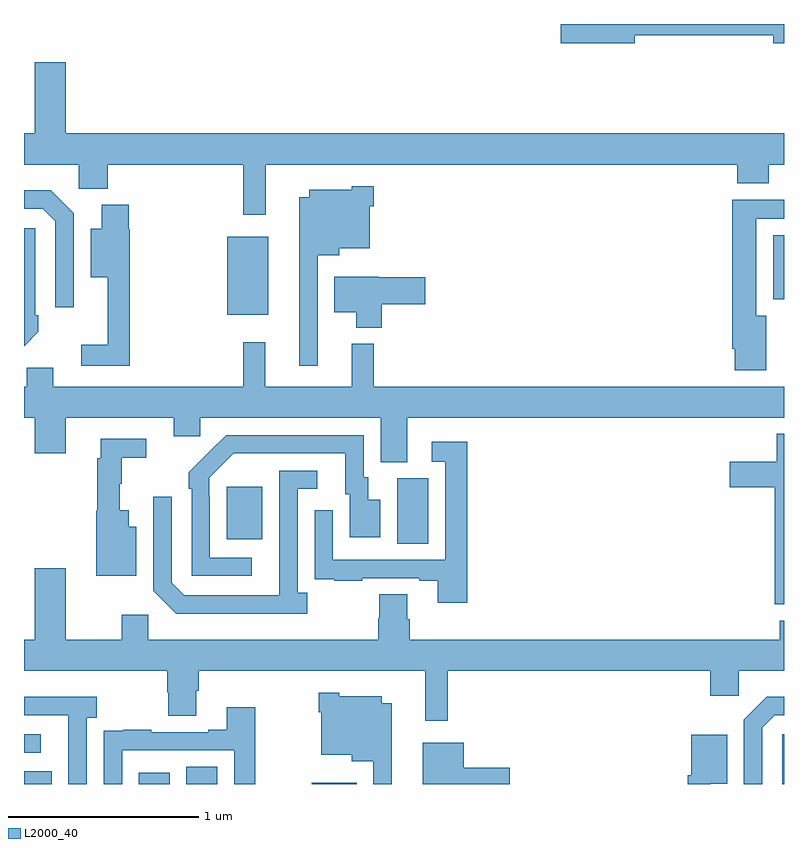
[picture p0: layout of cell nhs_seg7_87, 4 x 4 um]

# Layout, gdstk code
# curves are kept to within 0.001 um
import gdstk
lib = gdstk.Library(unit=1e-6, precision=1e-09)
def R(c, l, rs):  # rectangles x0, y0, x1, y1
    for r in rs: c.add(gdstk.rectangle(r[:2], r[2:], *l))
def P(c, l, *ps):  # polygons
    for p in ps: c.add(gdstk.Polygon(p, *l))
L2000_40 = (2000, 40)

nhs_seg7_87 = lib.new_cell('nhs_seg7_87')
R(nhs_seg7_87, L2000_40, [(117,1020,117.145,1020.067), (117.605,1020,117.766,1020.058), (117.854,1020,118.018,1020.092), (118.514,1020,118.75,1020.007), (120.99,1020,121,1020.261), (117,1020.165,117.088,1020.261), (118.964,1021.264,119.128,1021.608), (118.067,1021.289,118.255,1021.564), (118.07,1022.471,118.285,1022.881), (120.944,1022.552,121,1022.887)])
P(nhs_seg7_87, L2000_40, [(120.214,1023.94),(120.944,1023.94),(120.944,1023.898),(121,1023.898),(121,1024),(119.826,1024),(119.826,1023.898),(120.214,1023.898)],
  [(118.272,1023.26),(120.755,1023.26),(120.755,1023.161),(120.92,1023.161),(120.92,1023.26),(121,1023.26),(121,1023.424),(117.22,1023.424),(117.22,1023.799),(117.056,1023.799),(117.056,1023.424),(117,1023.424),(117,1023.26),(117.288,1023.26),(117.288,1023.134),(117.44,1023.134),(117.44,1023.26),(118.153,1023.26),(118.153,1022.997),(118.272,1022.997)],
  [(118.545,1022.783),(118.66,1022.783),(118.66,1022.819),(118.819,1022.819),(118.819,1023.041),(118.841,1023.041),(118.841,1023.145),(118.725,1023.145),(118.725,1023.127),(118.502,1023.127),(118.502,1023.088),(118.448,1023.088),(118.448,1022.202),(118.545,1022.202)],
  [(117.261,1023.003),(117.14,1023.124),(117,1023.124),(117,1023.027),(117.099,1023.027),(117.165,1022.961),(117.165,1022.508),(117.261,1022.508)],
  [(120.907,1022.464),(120.853,1022.464),(120.853,1022.976),(121,1022.976),(121,1023.074),(120.728,1023.074),(120.728,1022.29),(120.74,1022.29),(120.74,1022.178),(120.907,1022.178)],
  [(117.557,1022.919),(117.551,1022.919),(117.551,1023.049),(117.41,1023.049),(117.41,1022.923),(117.35,1022.923),(117.35,1022.666),(117.44,1022.666),(117.44,1022.311),(117.3,1022.311),(117.3,1022.202),(117.557,1022.202)],
  [(117.075,1022.379),(117.075,1022.467),(117.06,1022.467),(117.06,1022.925),(117,1022.925),(117,1022.304)],
  [(118.883,1022.524),(119.113,1022.524),(119.113,1022.666),(118.866,1022.666),(118.866,1022.671),(118.634,1022.671),(118.634,1022.483),(118.748,1022.483),(118.748,1022.402),(118.883,1022.402)],
  [(119.017,1021.928),(121,1021.928),(121,1022.092),(118.841,1022.092),(118.841,1022.317),(118.724,1022.317),(118.724,1022.092),(118.271,1022.092),(118.271,1022.326),(118.153,1022.326),(118.153,1022.092),(117.154,1022.092),(117.154,1022.19),(117.015,1022.19),(117.015,1022.092),(117,1022.092),(117,1021.928),(117.056,1021.928),(117.056,1021.74),(117.22,1021.74),(117.22,1021.928),(117.788,1021.928),(117.788,1021.83),(117.927,1021.83),(117.927,1021.928),(118.877,1021.928),(118.877,1021.693),(119.017,1021.693)],
  [(121,1021.843),(120.962,1021.843),(120.962,1021.696),(120.714,1021.696),(120.714,1021.562),(120.95,1021.562),(120.95,1020.947),(121,1020.947)],
  [(118.198,1021.191),(117.978,1021.191),(117.978,1021.511),(117.975,1021.511),(117.975,1021.611),(118.104,1021.74),(118.691,1021.74),(118.691,1021.524),(118.715,1021.524),(118.715,1021.299),(118.876,1021.299),(118.876,1021.495),(118.813,1021.495),(118.813,1021.614),(118.788,1021.614),(118.788,1021.836),(118.064,1021.836),(117.867,1021.641),(117.867,1021.553),(117.882,1021.553),(117.882,1021.095),(118.198,1021.095)],
  [(117.592,1021.354),(117.55,1021.354),(117.55,1021.441),(117.503,1021.441),(117.503,1021.581),(117.514,1021.581),(117.514,1021.717),(117.643,1021.717),(117.643,1021.818),(117.404,1021.818),(117.404,1021.715),(117.385,1021.715),(117.385,1021.437),(117.38,1021.437),(117.38,1021.097),(117.592,1021.097)],
  [(119.333,1021.801),(119.145,1021.801),(119.145,1021.695),(119.217,1021.695),(119.217,1021.179),(118.626,1021.179),(118.626,1021.441),(118.53,1021.441),(118.53,1021.186),(118.531,1021.186),(118.531,1021.077),(118.633,1021.077),(118.633,1021.071),(118.781,1021.071),(118.781,1021.083),(119.081,1021.083),(119.081,1021.071),(119.177,1021.071),(119.177,1020.954),(119.333,1020.954)],
  [(118.492,1021.006),(118.44,1021.006),(118.44,1021.554),(118.543,1021.554),(118.543,1021.65),(118.344,1021.65),(118.343,1020.993),(117.843,1020.993),(117.777,1021.059),(117.777,1021.513),(117.681,1021.513),(117.681,1021.017),(117.802,1020.896),(118.492,1020.896)],
  [(119.231,1020.596),(120.611,1020.596),(120.611,1020.465),(120.762,1020.465),(120.762,1020.596),(121,1020.596),(121,1020.859),(120.977,1020.859),(120.977,1020.76),(119.03,1020.76),(119.03,1020.866),(119.017,1020.866),(119.017,1020.998),(118.87,1020.998),(118.87,1020.873),(118.865,1020.873),(118.865,1020.76),(117.654,1020.76),(117.654,1020.892),(117.515,1020.892),(117.515,1020.76),(117.22,1020.76),(117.22,1021.135),(117.056,1021.135),(117.056,1020.76),(117,1020.76),(117,1020.596),(117.755,1020.596),(117.755,1020.483),(117.76,1020.483),(117.76,1020.358),(117.907,1020.358),(117.907,1020.49),(117.92,1020.49),(117.92,1020.596),(119.113,1020.596),(119.113,1020.333),(119.231,1020.333)],
  [(118.936,1020.424),(118.882,1020.424),(118.882,1020.463),(118.659,1020.463),(118.659,1020.481),(118.551,1020.481),(118.551,1020.377),(118.565,1020.377),(118.565,1020.155),(118.724,1020.155),(118.724,1020.119),(118.839,1020.119),(118.839,1020),(118.936,1020)],
  [(120.885,1020.297),(120.951,1020.363),(121,1020.363),(121,1020.46),(120.91,1020.46),(120.789,1020.339),(120.789,1020),(120.885,1020)],
  [(117.33,1020.35),(117.382,1020.35),(117.382,1020.46),(117,1020.46),(117,1020.363),(117.233,1020.363),(117.233,1020.163),(117.234,1020.163),(117.234,1020),(117.33,1020)],
  [(117.516,1020.177),(118.107,1020.177),(118.107,1020),(118.216,1020),(118.216,1020.403),(118.067,1020.403),(118.067,1020.286),(117.971,1020.286),(117.971,1020.273),(117.671,1020.273),(117.671,1020.286),(117.523,1020.286),(117.523,1020.279),(117.421,1020.279),(117.421,1020.17),(117.42,1020.17),(117.42,1020),(117.516,1020)],
  [(120.611,1020.002),(120.7,1020.002),(120.7,1020.259),(120.512,1020.259),(120.512,1020.045),(120.493,1020.045),(120.493,1020),(120.611,1020)],
  [(119.557,1020.086),(119.314,1020.086),(119.314,1020.217),(119.099,1020.217),(119.099,1020),(119.557,1020)])

lib.write_gds('nhs_seg7_87.gds')
